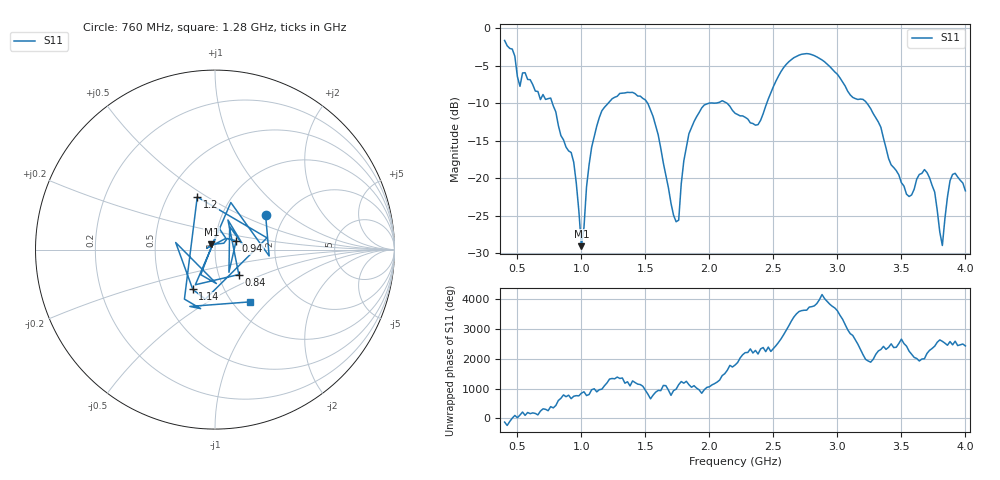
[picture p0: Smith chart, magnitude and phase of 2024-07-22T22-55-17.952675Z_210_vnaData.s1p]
!Created with skrf (http://scikit-rf.org).
# Hz S RI R 50.0
!freq ReS11 ImS11
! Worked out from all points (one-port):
!   181 points, 400 MHz to 4 GHz, reference 50 ohm
!   lowest |S11| = -29.1 dB at 1 GHz (marker M1), VSWR 1.07, Z = 48 + j2.81 ohm
!   |S11| at or under -10 dB: 773.3 MHz to 1.209 GHz (435.9 MHz wide, 44 % of centre); 1.518 GHz to 1.997 GHz (479.3 MHz wide, 27.3 % of centre); 3.23 GHz to end of sweep (the widest 3 of 5)
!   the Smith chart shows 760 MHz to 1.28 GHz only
!   S11 on the Smith chart (normalised r, x): 760 MHz: 1.60, +0.70; 840 MHz: 1.25, -0.36; 940 MHz: 1.26, +0.13; 1.14 GHz: 0.71, -0.34; 1.2 GHz: 0.70, +0.45; 1.28 GHz: 1.20, -0.80
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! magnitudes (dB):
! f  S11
! 400 MHz  -1.6
! 520 MHz  -7.7
! 760 MHz  -9.3
! 840 MHz  -14.3
! 860 MHz  -14.9
! 940 MHz  -17.9
! 1 GHz  -29.1
! 1.06 GHz  -18.2
! 1.14 GHz  -11.9
! 1.2 GHz  -10.2
! 1.28 GHz  -9.1
! 1.3 GHz  -8.7
! 1.52 GHz  -10.1
! 1.76 GHz  -25.6
! 1.8 GHz  -17.7
! 1.9 GHz  -11.8
! 2.2 GHz  -11.3
! 2.38 GHz  -12.9
! 2.66 GHz  -3.9
! 2.88 GHz  -4.2
! 3.1 GHz  -8.9
! 3.26 GHz  -10.7
! 3.56 GHz  -22.5
! 3.7 GHz  -19.3
! 3.76 GHz  -21.8
! 3.82 GHz  -29.0
! 3.9 GHz  -19.5
! 4 GHz  -21.7
